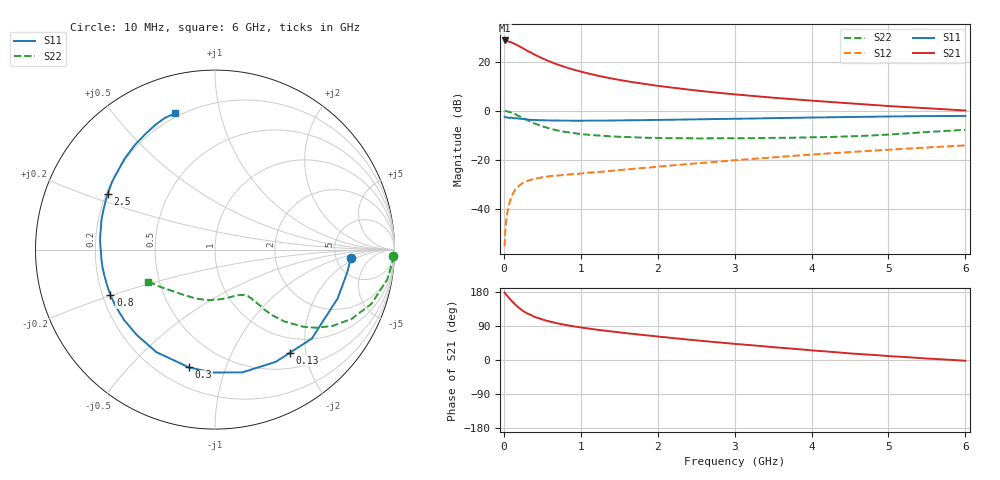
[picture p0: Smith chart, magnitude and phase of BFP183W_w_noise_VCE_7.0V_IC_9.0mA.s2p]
! Infineon Technologies  Discrete & RF Semiconductors
! BFP183W
! VCE =  7.0 V,  IC =  9.0 mA
! Common Emitter S-Parameters:  Jan 2017
# GHz  S  MA  R  50
!  f  S11  S21  S12  S22
! GHz  MAG  ANG  MAG  ANG  MAG  ANG  MAG  ANG
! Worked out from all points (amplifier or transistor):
!   77 points, 10 MHz to 6 GHz, reference 50 ohm
!   highest |S21| = 28.6 dB at 10 MHz (marker M1)
!   |S21| within 3 dB of that: start of sweep to 237.7 MHz
!   unconditionally stable (mu >= 1): 1.754 GHz to 3.917 GHz
!   at 130 MHz: K = 0.13, MSG = 30.1 dB, |S12| = -32.9 dB
!   at 2.2 GHz: K = 1.05, MAG = 14.3 dB, |S12| = -22.1 dB
!   at 6 GHz: K = 0.84, MSG = 7.1 dB, |S12| = -14.0 dB
!   lowest NFmin = 0.90 dB at 450 MHz
!   S11 on the Smith chart (normalised r, x): 10 MHz: 6.90, -1.59; 130 MHz: 0.74, -1.72; 300 MHz: 0.31, -0.75; 800 MHz: 0.23, -0.20; 2.5 GHz: 0.21, +0.24; 6 GHz: 0.18, +0.73
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0.01  0.7583 -3.7  26.87 178.2  0.0018 93.5  0.9943 -2.0
0.02  0.7468 -10.2  26.73 174.8  0.004 84.4  0.9906 -4.1
0.05  0.7353 -21.8  25.97 167.7  0.0093 80.2  0.9736 -10.0
0.1  0.7326 -42.6  24.54 156.1  0.0183 70.6  0.9224 -19.1
0.13  0.7103 -53.9  23.28 150.1  0.0226 64.8  0.879 -23.6
0.15  0.7113 -61.6  22.6 145.8  0.0255 62.1  0.8533 -26.9
0.2  0.7006 -77.5  20.52 136.9  0.0306 56.9  0.7811 -33.0
0.25  0.685 -91.2  18.56 129.4  0.0351 51.2  0.7118 -37.7
0.3  0.672 -102.5  16.74 123.3  0.038 46.8  0.6508 -41.3
0.4  0.658 -119.8  13.86 113.8  0.0418 42.2  0.5543 -46.1
0.5  0.6452 -132.6  11.64 106.9  0.0449 39.2  0.4862 -48.8
0.6  0.6406 -142.2  10 101.3  0.0476 37.5  0.4371 -50.4
0.7  0.6374 -150.1  8.711 96.6  0.0487 37.0  0.4005 -51.2
0.8  0.6353 -156.6  7.735 92.5  0.0505 37.9  0.3753 -52.0
1.1  0.6345 -170.7  5.734 83.1  0.0559 39.2  0.3288 -54.0
1.5  0.6416 176.1  4.255 73.0  0.063 42.6  0.2985 -57.8
2.1  0.659 160.8  3.088 60.0  0.0762 46.4  0.2809 -67.0
2.5  0.6737 152.4  2.6 51.9  0.086 48.2  0.2773 -75.2
3.1  0.6955 141.4  2.1 41.0  0.1024 49.0  0.2785 -88.5
4.1  0.7373 126.1  1.576 23.9  0.133 47.9  0.2926 -112.5
5.1  0.7732 114.5  1.23 9.2  0.1665 44.4  0.3385 -138.2
6  0.7911 106.2  1.02 -2.0  0.1996 39.6  0.4139 -154.5
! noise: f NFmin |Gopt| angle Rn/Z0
0.45  0.9  0.11  89  0.11
0.9  0.95  0.18  132  0.1
1.9  1.46  0.37  179  0.07
2.4  1.71  0.44  -170  0.09
